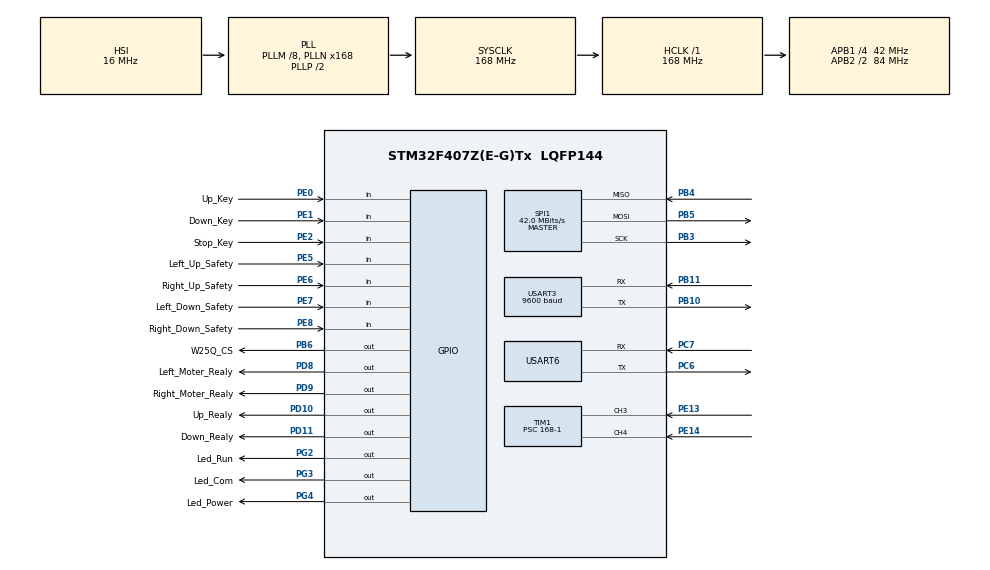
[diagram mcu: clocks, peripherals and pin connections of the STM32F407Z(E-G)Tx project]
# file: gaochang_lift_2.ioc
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Dma.Request0=USART3_TX
Dma.Request1=USART3_RX
Dma.Request2=USART6_RX
Dma.Request3=USART6_TX
Dma.USART3_RX.1.Direction=DMA_PERIPH_TO_MEMORY
Dma.USART3_RX.1.FIFOMode=DMA_FIFOMODE_DISABLE
Dma.USART3_RX.1.Instance=DMA1_Stream1
Dma.USART3_RX.1.MemDataAlignment=DMA_MDATAALIGN_BYTE
Dma.USART3_RX.1.MemInc=DMA_MINC_ENABLE
Dma.USART3_RX.1.Mode=DMA_CIRCULAR
Dma.USART3_RX.1.PeriphDataAlignment=DMA_PDATAALIGN_BYTE
Dma.USART3_RX.1.PeriphInc=DMA_PINC_DISABLE
Dma.USART3_RX.1.Priority=DMA_PRIORITY_LOW
Dma.USART3_TX.0.Direction=DMA_MEMORY_TO_PERIPH
Dma.USART3_TX.0.FIFOMode=DMA_FIFOMODE_DISABLE
Dma.USART3_TX.0.Instance=DMA1_Stream3
Dma.USART3_TX.0.MemDataAlignment=DMA_MDATAALIGN_BYTE
Dma.USART3_TX.0.MemInc=DMA_MINC_ENABLE
Dma.USART3_TX.0.Mode=DMA_NORMAL
Dma.USART3_TX.0.PeriphDataAlignment=DMA_PDATAALIGN_BYTE
Dma.USART3_TX.0.PeriphInc=DMA_PINC_DISABLE
Dma.USART3_TX.0.Priority=DMA_PRIORITY_LOW
Dma.USART6_RX.2.Direction=DMA_PERIPH_TO_MEMORY
Dma.USART6_RX.2.FIFOMode=DMA_FIFOMODE_DISABLE
Dma.USART6_RX.2.Instance=DMA2_Stream1
Dma.USART6_RX.2.MemDataAlignment=DMA_MDATAALIGN_BYTE
Dma.USART6_RX.2.MemInc=DMA_MINC_ENABLE
Dma.USART6_RX.2.Mode=DMA_CIRCULAR
Dma.USART6_RX.2.PeriphDataAlignment=DMA_PDATAALIGN_BYTE
Dma.USART6_RX.2.PeriphInc=DMA_PINC_DISABLE
Dma.USART6_RX.2.Priority=DMA_PRIORITY_LOW
Dma.USART6_TX.3.Direction=DMA_MEMORY_TO_PERIPH
Dma.USART6_TX.3.FIFOMode=DMA_FIFOMODE_DISABLE
Dma.USART6_TX.3.Instance=DMA2_Stream6
Dma.USART6_TX.3.MemDataAlignment=DMA_MDATAALIGN_BYTE
Dma.USART6_TX.3.MemInc=DMA_MINC_ENABLE
Dma.USART6_TX.3.Mode=DMA_NORMAL
Dma.USART6_TX.3.PeriphDataAlignment=DMA_PDATAALIGN_BYTE
Dma.USART6_TX.3.PeriphInc=DMA_PINC_DISABLE
Dma.USART6_TX.3.Priority=DMA_PRIORITY_LOW
FREERTOS.Tasks01=defaultTask,24,128,StartDefaultTask,Default,NULL,Dynamic,NULL,NULL
Mcu.Family=STM32F4
Mcu.Name=STM32F407Z(E-G)Tx
Mcu.Package=LQFP144
NVIC.DMA1_Stream1_IRQn=true\:5\:0\:false\:false\:true\:true\:false\:true\:true
NVIC.DMA1_Stream3_IRQn=true\:5\:0\:false\:false\:true\:true\:false\:true\:true
NVIC.DMA2_Stream1_IRQn=true\:5\:0\:false\:false\:true\:true\:false\:true\:true
NVIC.DMA2_Stream6_IRQn=true\:5\:0\:false\:false\:true\:true\:false\:true\:true
NVIC.PriorityGroup=NVIC_PRIORITYGROUP_4
NVIC.TIM1_BRK_TIM9_IRQn=true\:5\:0\:false\:false\:true\:true\:true\:true\:true
NVIC.TIM1_CC_IRQn=true\:5\:0\:false\:false\:true\:true\:true\:true\:true
NVIC.TIM1_TRG_COM_TIM11_IRQn=true\:5\:0\:false\:false\:true\:true\:true\:true\:true
NVIC.TIM1_UP_TIM10_IRQn=true\:5\:0\:false\:false\:true\:true\:true\:true\:true
NVIC.TIM6_DAC_IRQn=true\:15\:0\:false\:false\:true\:false\:false\:true\:true
NVIC.TimeBase=TIM6_DAC_IRQn
NVIC.TimeBaseIP=TIM6
NVIC.USART3_IRQn=true\:5\:0\:false\:false\:true\:true\:true\:true\:true
NVIC.USART6_IRQn=true\:5\:0\:false\:false\:true\:true\:true\:true\:true
PA13.Mode=Serial_Wire
PA13.Signal=SYS_JTMS-SWDIO
PA14.Mode=Serial_Wire
PA14.Signal=SYS_JTCK-SWCLK
PB10.Mode=Asynchronous
PB10.Signal=USART3_TX
PB11.Mode=Asynchronous
PB11.Signal=USART3_RX
PB3.Mode=Full_Duplex_Master
PB3.Signal=SPI1_SCK
PB4.Mode=Full_Duplex_Master
PB4.Signal=SPI1_MISO
PB5.Mode=Full_Duplex_Master
PB5.Signal=SPI1_MOSI
PB6.GPIO_Label=W25Q_CS
PB6.GPIO_PuPd=GPIO_PULLUP
PB6.PinState=GPIO_PIN_SET
PB6.Signal=GPIO_Output
PC6.Mode=Asynchronous
PC6.Signal=USART6_TX
PC7.Mode=Asynchronous
PC7.Signal=USART6_RX
PD10.GPIO_Label=Up_Realy
PD10.GPIO_PuPd=GPIO_PULLUP
PD10.PinState=GPIO_PIN_SET
PD10.Signal=GPIO_Output
PD11.GPIO_Label=Down_Realy
PD11.GPIO_PuPd=GPIO_PULLUP
PD11.PinState=GPIO_PIN_SET
PD11.Signal=GPIO_Output
PD8.GPIO_Label=Left_Moter_Realy
PD8.GPIO_ModeDefaultOutputPP=GPIO_MODE_OUTPUT_PP
PD8.GPIO_PuPd=GPIO_PULLUP
PD8.GPIO_Speed=GPIO_SPEED_FREQ_HIGH
PD8.PinState=GPIO_PIN_RESET
PD8.Signal=GPIO_Output
PD9.GPIO_Label=Right_Moter_Realy
PD9.GPIO_ModeDefaultOutputPP=GPIO_MODE_OUTPUT_PP
PD9.GPIO_PuPd=GPIO_PULLUP
PD9.PinState=GPIO_PIN_SET
PD9.Signal=GPIO_Output
PE0.GPIO_Label=Up_Key
PE0.GPIO_PuPd=GPIO_PULLUP
PE0.Signal=GPIO_Input
PE1.GPIO_Label=Down_Key
PE1.GPIO_PuPd=GPIO_PULLUP
PE1.Signal=GPIO_Input
PE13.Signal=S_TIM1_CH3
PE14.Signal=S_TIM1_CH4
PE2.GPIO_Label=Stop_Key
PE2.GPIO_PuPd=GPIO_PULLUP
PE2.Signal=GPIO_Input
PE5.GPIO_Label=Left_Up_Safety
PE5.GPIO_PuPd=GPIO_PULLDOWN
PE5.Signal=GPIO_Input
PE6.GPIO_Label=Right_Up_Safety
PE6.GPIO_PuPd=GPIO_PULLDOWN
PE6.Signal=GPIO_Input
PE7.GPIO_Label=Left_Down_Safety
PE7.GPIO_PuPd=GPIO_PULLDOWN
PE7.Signal=GPIO_Input
PE8.GPIO_Label=Right_Down_Safety
PE8.GPIO_PuPd=GPIO_PULLDOWN
PE8.Signal=GPIO_Input
PG2.GPIO_Label=Led_Run
PG2.GPIO_PuPd=GPIO_PULLUP
PG2.PinState=GPIO_PIN_SET
PG2.Signal=GPIO_Output
PG3.GPIO_Label=Led_Com
PG3.GPIO_PuPd=GPIO_PULLUP
PG3.PinState=GPIO_PIN_SET
PG3.Signal=GPIO_Output
PG4.GPIO_Label=Led_Power
PG4.GPIO_PuPd=GPIO_PULLUP
PG4.PinState=GPIO_PIN_SET
PG4.Signal=GPIO_Output
ProjectManager.HeapSize=0x200
ProjectManager.StackSize=0x400
ProjectManager.TargetToolchain=MDK-ARM V5.32
RCC.48MHZClocksFreq_Value=84000000
RCC.AHBFreq_Value=168000000
RCC.APB1CLKDivider=RCC_HCLK_DIV4
RCC.APB1Freq_Value=42000000
RCC.APB1TimFreq_Value=84000000
RCC.APB2CLKDivider=RCC_HCLK_DIV2
RCC.APB2Freq_Value=84000000
RCC.APB2TimFreq_Value=168000000
RCC.CortexFreq_Value=168000000
RCC.HCLKFreq_Value=168000000
RCC.HSE_VALUE=25000000
RCC.HSI_VALUE=16000000
RCC.LSE_VALUE=32768
RCC.PLLM=8
RCC.PLLN=168
RCC.SYSCLKFreq_VALUE=168000000
RCC.SYSCLKSource=RCC_SYSCLKSOURCE_PLLCLK
RCC.VCOOutputFreq_Value=336000000
SH.S_TIM1_CH3.0=TIM1_CH3,Input_Capture3_from_TI3
SH.S_TIM1_CH4.0=TIM1_CH4,Input_Capture4_from_TI4
SPI1.CalculateBaudRate=42.0 MBits/s
SPI1.Direction=SPI_DIRECTION_2LINES
SPI1.Mode=SPI_MODE_MASTER
SPI1.VirtualType=VM_MASTER
TIM1.Channel-Input_Capture3_from_TI3=TIM_CHANNEL_3
TIM1.Channel-Input_Capture4_from_TI4=TIM_CHANNEL_4
TIM1.ICPolarity_CH3=TIM_INPUTCHANNELPOLARITY_FALLING
TIM1.ICPolarity_CH4=TIM_INPUTCHANNELPOLARITY_FALLING
TIM1.Period=65535
TIM1.Prescaler=168-1
USART3.BaudRate=9600
USART3.VirtualMode=VM_ASYNC
USART6.VirtualMode=VM_ASYNC
VP_FREERTOS_VS_CMSIS_V2.Mode=CMSIS_V2
VP_SYS_VS_tim6.Mode=TIM6
VP_TIM1_VS_ClockSourceINT.Mode=Internal
board=custom

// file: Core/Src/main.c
/* USER CODE BEGIN Header */
/**
  ******************************************************************************
  * @file           : main.c
  * @brief          : Main program body
  ******************************************************************************
  * @attention
  *
  * Copyright (c) 2026 STMicroelectronics.
  * All rights reserved.
  *
  * This software is licensed under terms that can be found in the LICENSE file
  * in the root directory of this software component.
  * If no LICENSE file comes with this software, it is provided AS-IS.
  *
  ******************************************************************************
  */
/* USER CODE END Header */
#include "main.h"
#include "cmsis_os.h"
#include "dma.h"
#include "spi.h"
#include "tim.h"
#include "usart.h"
#include "gpio.h"

/* USER CODE BEGIN Includes */
#include "SEGGER_RTT.h"
#include "app_w25qxx.h"
#include "motor.h"
#include "encoder.h"
#include "safety.h"
#include "key.h"
/* #include "app_rs485.h" -- 屏蔽: 上机测试暂不用RS485 */
/* USER CODE END Includes */

void SystemClock_Config(void);
void MX_FREERTOS_Init(void);

int main(void)
{

  /* MCU Configuration--------------------------------------------------------*/

  /* Reset of all peripherals, Initializes the Flash interface and the Systick. */
  HAL_Init();

  /* Configure the system clock */
  SystemClock_Config();

  /* Initialize all configured peripherals */
  MX_GPIO_Init();
  MX_DMA_Init();
  MX_TIM1_Init();
  MX_SPI1_Init();
  MX_USART3_UART_Init();
  MX_USART6_UART_Init();
  /* USER CODE BEGIN 2 */
	SEGGER_RTT_Init();
	elog_init();

	elog_set_fmt(ELOG_LVL_ASSERT, ELOG_FMT_LVL | ELOG_FMT_TAG | ELOG_FMT_TIME);
  elog_set_fmt(ELOG_LVL_ERROR, ELOG_FMT_LVL | ELOG_FMT_TAG | ELOG_FMT_TIME);
  elog_set_fmt(ELOG_LVL_WARN, ELOG_FMT_LVL | ELOG_FMT_TAG | ELOG_FMT_TIME);
  elog_set_fmt(ELOG_LVL_INFO, ELOG_FMT_LVL | ELOG_FMT_TAG | ELOG_FMT_TIME);
  elog_set_fmt(ELOG_LVL_DEBUG, ELOG_FMT_ALL & ~ELOG_FMT_FUNC);

	elog_start();
	App_W25Qxx_System_Init();
	App_W25Qxx_Height_Load();
	Motor_Init();
	Safety_Init();
	Key_Init();
	Encoder_Init();

	elog_i("SYS", "[SYS] System ready - waiting for keys");

	/* RS485_Init(); -- 屏蔽 */

  /* USER CODE END 2 */

  /* Init scheduler */
  osKernelInitialize();  /* Call init function for freertos objects (in cmsis_os2.c) */
  MX_FREERTOS_Init();

  /* Start scheduler */
  osKernelStart();

  /* We should never get here as control is now taken by the scheduler */

  /* Infinite loop */
  while (1)
  {

  }
}

void SystemClock_Config(void)
{
  RCC_OscInitTypeDef RCC_OscInitStruct = {0};
  RCC_ClkInitTypeDef RCC_ClkInitStruct = {0};

  /** Configure the main internal regulator output voltage
  */
  __HAL_RCC_PWR_CLK_ENABLE();
  __HAL_PWR_VOLTAGESCALING_CONFIG(PWR_REGULATOR_VOLTAGE_SCALE1);

  /** Initializes the RCC Oscillators according to the specified parameters
  * in the RCC_OscInitTypeDef structure.
  */
  RCC_OscInitStruct.OscillatorType = RCC_OSCILLATORTYPE_HSI;
  RCC_OscInitStruct.HSIState = RCC_HSI_ON;
  RCC_OscInitStruct.HSICalibrationValue = RCC_HSICALIBRATION_DEFAULT;
  RCC_OscInitStruct.PLL.PLLState = RCC_PLL_ON;
  RCC_OscInitStruct.PLL.PLLSource = RCC_PLLSOURCE_HSI;
  RCC_OscInitStruct.PLL.PLLM = 8;
  RCC_OscInitStruct.PLL.PLLN = 168;
  RCC_OscInitStruct.PLL.PLLP = RCC_PLLP_DIV2;
  RCC_OscInitStruct.PLL.PLLQ = 4;
  if (HAL_RCC_OscConfig(&RCC_OscInitStruct) != HAL_OK)
  {
    Error_Handler();
  }

  /** Initializes the CPU, AHB and APB buses clocks
  */
  RCC_ClkInitStruct.ClockType = RCC_CLOCKTYPE_HCLK|RCC_CLOCKTYPE_SYSCLK
                              |RCC_CLOCKTYPE_PCLK1|RCC_CLOCKTYPE_PCLK2;
  RCC_ClkInitStruct.SYSCLKSource = RCC_SYSCLKSOURCE_PLLCLK;
  RCC_ClkInitStruct.AHBCLKDivider = RCC_SYSCLK_DIV1;
  RCC_ClkInitStruct.APB1CLKDivider = RCC_HCLK_DIV4;
  RCC_ClkInitStruct.APB2CLKDivider = RCC_HCLK_DIV2;

  if (HAL_RCC_ClockConfig(&RCC_ClkInitStruct, FLASH_LATENCY_5) != HAL_OK)
  {
    Error_Handler();
  }
}

void HAL_TIM_PeriodElapsedCallback(TIM_HandleTypeDef *htim)
{
  if (htim->Instance == TIM6)
  {
    HAL_IncTick();
  }
}

void Error_Handler(void)
{
  __disable_irq();
  while (1)
  {
  }
}

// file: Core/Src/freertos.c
/* USER CODE BEGIN Header */
/**
  ******************************************************************************
  * File Name          : freertos.c
  * Description        : Code for freertos applications
  ******************************************************************************
  * @attention
  *
  * Copyright (c) 2026 STMicroelectronics.
  * All rights reserved.
  *
  * This software is licensed under terms that can be found in the LICENSE file
  * in the root directory of this software component.
  * If no LICENSE file comes with this software, it is provided AS-IS.
  *
  ******************************************************************************
  */
/* USER CODE END Header */

#include "FreeRTOS.h"
#include "task.h"
#include "main.h"
#include "cmsis_os.h"

/* USER CODE BEGIN Includes */
#include "elog.h"
#include "gpio.h"
/* #include "dri_debug.h" -- 屏蔽: 模拟编码器 */
#include "dri_motor.h"
#include "dri_safety.h"
#include "dri_key.h"
/* #include "dri_rs485.h" -- 屏蔽: RS485 */
/* USER CODE END Includes */

/* Definitions for defaultTask */
osThreadId_t defaultTaskHandle;
const osThreadAttr_t defaultTask_attributes = {
  .name = "defaultTask",
  .stack_size = 128 * 4,
  .priority = (osPriority_t) osPriorityNormal,
};

void StartDefaultTask(void *argument);

void MX_FREERTOS_Init(void); /* (MISRA C 2004 rule 8.1) */

void MX_FREERTOS_Init(void) {

  /* Create the thread(s) */
  /* creation of defaultTask */
  defaultTaskHandle = osThreadNew(StartDefaultTask, NULL, &defaultTask_attributes);

  /* USER CODE BEGIN RTOS_THREADS */
  /* add threads, ... */
  /* Debug_Task_Create(); */  /* 调试任务已注释 */
  Control_Task_Create();
  Safety_Task_Create();
  Key_Task_Create();
  /* RS485_Task_Create(); -- 屏蔽 */
  /* USER CODE END RTOS_THREADS */

}

void StartDefaultTask(void *argument)
{
  /* USER CODE BEGIN StartDefaultTask */
  /* Infinite loop */
  while (1)
  {
    vTaskDelay(1);
  }
  /* USER CODE END StartDefaultTask */
}
